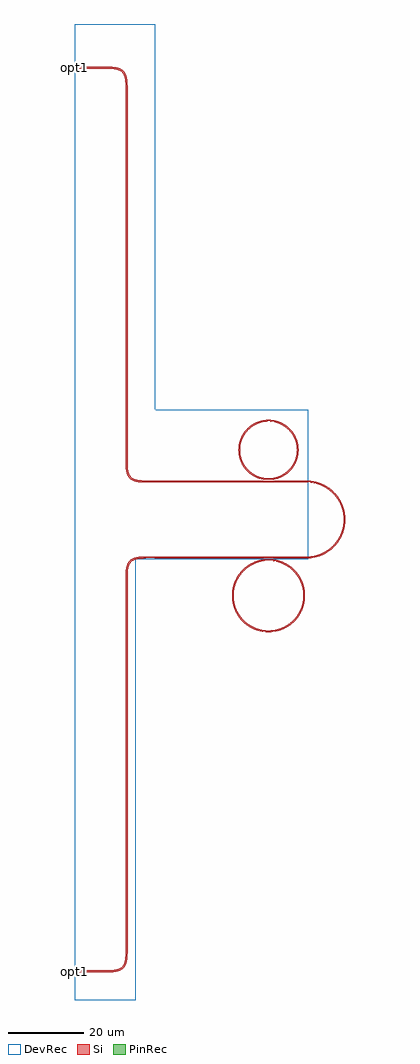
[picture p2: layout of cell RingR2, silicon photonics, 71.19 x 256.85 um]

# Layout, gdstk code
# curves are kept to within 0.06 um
import gdstk
lib = gdstk.Library(unit=1e-6, precision=1e-09)
def R(c, l, rs):  # rectangles x0, y0, x1, y1
    for r in rs: c.add(gdstk.rectangle(r[:2], r[2:], *l))
def P(c, l, *ps):  # polygons
    for p in ps: c.add(gdstk.Polygon(p, *l))
Si = (1, 0)
PinRec = (1, 10)
DevRec = (68, 0)

ringr2 = lib.new_cell('RingR2')
R(ringr2, Si, [(40.991,116.243,61.246,116.643), (40.991,136.243,61.131,136.643)])
P(ringr2, Si, [(0.01,7.31),(0.01,7.81),(9.069,7.814),(10.983,8.005),(11.945,8.35),(12.538,8.813),(12.955,9.466),(13.226,10.363),(13.353,11.353),(13.392,12.56),(13.432,112.685),(13.599,113.892),(13.931,114.865),(14.465,115.62),(15.098,116.09),(15.891,116.408),(17.028,116.619),(20.991,116.693),(20.991,116.193),(17.256,116.139),(16.162,115.964),(15.338,115.652),(14.745,115.189),(14.328,114.536),(14.087,113.784),(13.93,112.649),(13.892,12.557),(13.851,11.317),(13.716,10.267),(13.352,9.137),(12.819,8.383),(12.064,7.849),(11.091,7.517),(9.079,7.314)],
  [(18.639,136.193),(17.21,136.249),(16.192,136.401),(15.344,136.674),(14.658,137.092),(14.132,137.672),(13.766,138.411),(13.537,139.313),(13.419,140.394),(13.392,240.326),(13.254,242.371),(13.002,243.308),(12.607,243.994),(11.945,244.536),(11.121,244.848),(10.201,245.005),(9.069,245.072),(0.01,245.076),(0.01,245.576),(9.079,245.572),(11.091,245.369),(12.185,244.974),(12.908,244.409),(13.411,243.624),(13.746,242.457),(13.892,240.329),(13.909,140.614),(14.057,139.247),(14.328,138.35),(14.745,137.697),(15.338,137.234),(16.162,136.922),(17.256,136.747),(20.991,136.693),(20.991,136.193)],
  [(42.616,111.108),(43.396,112.288),(44.271,113.273),(44.346,113.338),(44.931,113.338),(43.996,112.393),(43.481,111.733),(43.081,111.108)],
  [(50.801,96.813),(50.801,97.213),(51.551,97.228),(52.541,97.343),(53.546,97.573),(54.701,97.993),(55.601,97.993),(54.481,97.468),(53.301,97.093),(52.076,96.873)],
  [(20.991,116.193),(20.991,116.693),(40.991,116.643),(40.991,116.243)],
  [(42.736,101.513),(42.231,102.478),(41.776,103.713),(41.521,104.828),(41.391,106.223),(41.791,106.223),(41.881,105.118),(42.151,103.858),(42.596,102.643),(43.206,101.513)],
  [(44.701,99.158),(43.616,100.263),(42.736,101.513),(43.206,101.513),(43.626,100.898),(44.176,100.228),(45.336,99.158)],
  [(44.346,113.338),(45.156,114.038),(46.076,114.663),(47.056,115.173),(48.166,115.588),(48.166,115.168),(47.221,114.808),(46.506,114.448),(45.661,113.913),(44.931,113.338)],
  [(41.391,106.223),(41.431,107.313),(41.541,108.113),(41.936,109.608),(42.616,111.108),(43.081,111.108),(42.526,110.023),(42.096,108.768),(41.861,107.563),(41.791,106.223)],
  [(46.386,97.988),(45.496,98.538),(44.701,99.158),(45.336,99.158),(46.156,98.583),(47.296,97.988)],
  [(54.701,97.993),(55.701,98.508),(56.661,99.173),(57.291,99.173),(56.556,98.588),(55.601,97.993)],
  [(58.776,101.513),(59.326,102.513),(59.836,103.873),(60.121,105.263),(60.191,106.223),(60.591,106.223),(60.441,104.713),(60.001,103.093),(59.631,102.223),(59.246,101.513)],
  [(50.791,96.813),(49.856,96.878),(48.601,97.113),(47.361,97.523),(46.386,97.988),(47.296,97.988),(48.111,97.673),(48.981,97.433),(49.841,97.283),(50.801,97.213)],
  [(61.246,116.243),(61.246,116.643),(62.541,116.763),(63.581,116.988),(64.586,117.323),(65.556,117.773),(65.556,117.318),(64.431,116.838),(62.886,116.418)],
  [(57.136,113.258),(56.441,113.828),(55.826,114.243),(55.266,114.563),(54.381,114.968),(53.531,115.258),(52.811,115.433),(52.011,115.558),(51.181,115.613),(53.736,115.613),(54.621,115.303),(55.921,114.653),(56.486,114.288),(57.206,113.733),(57.721,113.258)],
  [(59.006,110.928),(58.201,112.133),(57.676,112.738),(57.136,113.258),(57.721,113.258),(58.451,112.458),(58.951,111.783),(59.466,110.928)],
  [(60.191,106.223),(60.131,107.483),(59.891,108.753),(59.486,109.948),(59.006,110.928),(59.466,110.928),(59.996,109.748),(60.311,108.723),(60.531,107.498),(60.591,106.223)],
  [(48.166,115.168),(48.166,115.588),(49.211,115.848),(50.211,115.983),(51.191,116.013),(51.991,115.963),(53.021,115.798),(53.736,115.613),(50.176,115.578),(49.221,115.443)],
  [(56.661,99.173),(57.316,99.728),(57.881,100.313),(58.776,101.513),(59.246,101.513),(58.586,100.538),(57.591,99.438),(57.291,99.173)],
  [(47.126,137.868),(46.446,138.293),(45.711,138.878),(46.336,138.878),(47.141,138.318),(48.026,137.868)],
  [(50.771,136.858),(49.811,136.943),(48.861,137.148),(47.891,137.488),(47.126,137.868),(48.026,137.868),(48.671,137.623),(49.481,137.408),(50.786,137.258)],
  [(64.981,135.393),(64.026,135.763),(63.131,136.008),(62.081,136.183),(61.131,136.243),(61.131,136.643),(62.621,136.513),(64.116,136.153),(65.026,135.813),(65.886,135.393)],
  [(69.301,131.633),(68.341,132.928),(67.716,133.573),(67.046,134.148),(67.671,134.148),(68.641,133.193),(69.201,132.498),(69.771,131.633)],
  [(45.711,138.878),(44.836,139.803),(44.096,140.898),(44.561,140.898),(45.366,139.793),(46.336,138.878)],
  [(70.791,126.638),(70.681,127.923),(70.416,129.133),(69.946,130.428),(69.301,131.633),(69.791,131.603),(70.326,130.558),(70.741,129.448),(71.071,128.018),(71.191,126.638)],
  [(69.421,121.443),(70.021,122.628),(70.476,123.968),(70.716,125.218),(70.791,126.638),(71.191,126.638),(71.161,125.628),(71.056,124.778),(70.636,123.118),(70.276,122.213),(69.881,121.443)],
  [(20.991,136.193),(20.991,136.693),(40.991,136.643),(40.991,136.243)],
  [(57.416,140.883),(57.891,141.813),(58.256,142.888),(58.441,143.873),(58.491,144.923),(58.891,144.923),(58.796,143.523),(58.416,142.053),(57.876,140.883)],
  [(55.636,138.868),(56.591,139.763),(57.416,140.883),(57.876,140.883),(57.156,139.813),(56.261,138.868)],
  [(50.786,136.858),(50.786,137.258),(51.576,137.278),(52.281,137.368),(53.051,137.543),(53.946,137.863),(54.851,137.863),(53.711,137.338),(52.811,137.068),(51.716,136.888)],
  [(67.046,134.148),(66.141,134.783),(64.981,135.393),(65.886,135.393),(66.351,135.123),(67.031,134.663),(67.671,134.148)],
  [(44.096,140.898),(43.641,141.858),(43.301,142.938),(43.136,143.893),(43.091,144.923),(43.491,144.923),(43.546,143.833),(43.756,142.773),(44.106,141.778),(44.561,140.898)],
  [(53.946,137.863),(54.741,138.258),(55.636,138.868),(56.261,138.868),(55.501,138.268),(54.851,137.863)],
  [(57.916,147.638),(57.476,148.528),(56.931,149.333),(56.931,149.963),(57.511,149.223),(57.916,148.558)],
  [(56.931,149.333),(56.081,150.268),(54.996,151.098),(54.996,151.563),(55.956,150.903),(56.861,150.048),(56.931,149.963)],
  [(54.996,151.098),(53.981,151.638),(53.061,151.968),(52.056,152.183),(51.121,152.258),(53.471,152.258),(54.366,151.903),(54.996,151.563)],
  [(49.636,152.133),(49.636,152.538),(50.676,152.653),(51.401,152.648),(52.116,152.578),(52.826,152.443),(53.471,152.258),(50.691,152.253)],
  [(45.806,150.718),(46.571,151.308),(47.556,151.873),(48.506,152.258),(49.636,152.538),(49.636,152.133),(48.956,151.978),(48.036,151.653),(47.196,151.228),(46.441,150.718)],
  [(43.091,144.923),(43.256,146.373),(43.686,147.768),(44.196,148.788),(44.666,148.788),(44.196,147.938),(43.841,147.028),(43.581,145.928),(43.491,144.923)],
  [(58.491,144.923),(58.436,145.683),(58.321,146.358),(57.916,147.638),(57.916,148.558),(58.466,147.318),(58.681,146.578),(58.811,145.893),(58.891,144.923)],
  [(44.196,148.788),(44.931,149.828),(45.741,150.663),(45.806,150.718),(46.441,150.718),(45.461,149.828),(44.666,148.788)],
  [(65.556,117.318),(65.556,117.773),(66.671,118.453),(67.776,119.368),(68.681,120.363),(69.421,121.443),(69.881,121.443),(68.906,120.003),(67.926,118.958),(66.961,118.168)])
P(ringr2, DevRec, [(0.01,0),(0.01,256.845),(21.206,256.845),(21.206,155.303),(61.391,155.303),(61.391,115.928),(16.029,115.928),(16.029,0)])
ringr2.add(gdstk.FlexPath([(0.02,7.56),(0,7.56)], 0.5, ends="flush", simple_path=True, layer=1, datatype=10))  # PinRec
ringr2.add(gdstk.FlexPath([(0.02,245.326),(0,245.326)], 0.5, ends="flush", simple_path=True, layer=1, datatype=10))  # PinRec
ringr2.add(gdstk.Label('opt1', (0.01,7.56), layer=1, texttype=10))
ringr2.add(gdstk.Label('opt1', (0.01,245.326), layer=1, texttype=10))
ringr2.add(gdstk.Label('waveguide_type=Strip TE 1550 nm, w=500 nm', (0.01,7.36), layer=68, texttype=0))
ringr2.add(gdstk.Label('cellName=Waveguide', (0.01,7.76), layer=68, texttype=0))
ringr2.add(gdstk.Label('Component=ebeam_wg_integral_1550', (0.01,7.66), layer=68, texttype=0))
ringr2.add(gdstk.Label('Lumerical_INTERCONNECT_library=Design kits/EBeam', (0.01,7.46), layer=68, texttype=0))
ringr2.add(gdstk.Label('waveguide_type=Strip TE 1550 nm, w=500 nm', (0.01,245.126), layer=68, texttype=0))
ringr2.add(gdstk.Label('Length=126.761 (microns)', (0.01,244.726), layer=68, texttype=0))
ringr2.add(gdstk.Label('Spice_param:wg_length=0.000126761 wg_width=5e-07 points="[[63.521,-793.963],[77.153,-793.963],[77.153,-902.846],[84.502,-902.846]]" radius=5e-06', (0.01,245.326), layer=68, texttype=0))
ringr2.add(gdstk.Label('cellName=Waveguide', (0.01,245.526), layer=68, texttype=0))
ringr2.add(gdstk.Label('Component=ebeam_wg_integral_1550', (0.01,245.426), layer=68, texttype=0))
ringr2.add(gdstk.Label('Lumerical_INTERCONNECT_library=Design kits/EBeam', (0.01,245.226), layer=68, texttype=0))

lib.write_gds('RingR2.gds')
